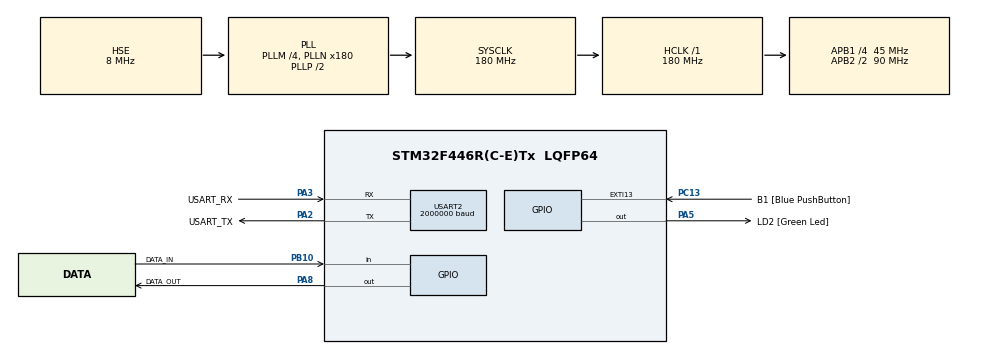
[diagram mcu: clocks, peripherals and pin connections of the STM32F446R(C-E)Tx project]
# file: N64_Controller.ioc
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Mcu.Family=STM32F4
Mcu.Name=STM32F446R(C-E)Tx
Mcu.Package=LQFP64
NVIC.PriorityGroup=NVIC_PRIORITYGROUP_0
NVIC.TIM3_IRQn=true\:0\:0\:false\:false\:true\:true\:true
PA13.GPIO_Label=TMS
PA13.Mode=Serial_Wire
PA13.Signal=SYS_JTMS-SWDIO
PA14.GPIO_Label=TCK
PA14.Mode=Serial_Wire
PA14.Signal=SYS_JTCK-SWCLK
PA2.GPIO_Label=USART_TX
PA2.Mode=Asynchronous
PA2.Signal=USART2_TX
PA3.GPIO_Label=USART_RX
PA3.Mode=Asynchronous
PA3.Signal=USART2_RX
PA5.GPIO_Label=LD2 [Green Led]
PA5.Signal=GPIO_Output
PA8.GPIO_Label=DATA_OUT
PA8.GPIO_Speed=GPIO_SPEED_FREQ_VERY_HIGH
PA8.PinState=GPIO_PIN_SET
PA8.Signal=GPIO_Output
PB10.GPIO_Label=DATA_IN
PB10.GPIO_PuPd=GPIO_PULLUP
PB10.Signal=GPIO_Input
PB3.GPIO_Label=SWO
PB3.Signal=SYS_JTDO-SWO
PB8.Signal=I2C1_SCL
PB9.Signal=I2C1_SDA
PC13.GPIO_Label=B1 [Blue PushButton]
PC13.GPIO_ModeDefaultEXTI=GPIO_MODE_IT_FALLING
PC13.Signal=GPXTI13
PC14-OSC32_IN.Signal=RCC_OSC32_IN
PC15-OSC32_OUT.Signal=RCC_OSC32_OUT
PH0-OSC_IN.Mode=HSE-External-Oscillator
PH0-OSC_IN.Signal=RCC_OSC_IN
PH1-OSC_OUT.Mode=HSE-External-Oscillator
PH1-OSC_OUT.Signal=RCC_OSC_OUT
ProjectManager.HeapSize=0x200
ProjectManager.StackSize=0x400
ProjectManager.TargetToolchain=STM32CubeIDE
RCC.48MHZClocksFreq_Value=84000000
RCC.AHBFreq_Value=180000000
RCC.APB1CLKDivider=RCC_HCLK_DIV4
RCC.APB1Freq_Value=45000000
RCC.APB1TimFreq_Value=90000000
RCC.APB2CLKDivider=RCC_HCLK_DIV2
RCC.APB2Freq_Value=90000000
RCC.APB2TimFreq_Value=180000000
RCC.CortexFreq_Value=180000000
RCC.FLatency-AdvancedSettings=FLASH_LATENCY_5
RCC.HCLKFreq_Value=180000000
RCC.HSE_VALUE=8000000
RCC.HSI_VALUE=16000000
RCC.PLLM=4
RCC.PLLN=180
RCC.PLLSourceVirtual=RCC_PLLSOURCE_HSE
RCC.SYSCLKFreq_VALUE=180000000
RCC.SYSCLKSource=RCC_SYSCLKSOURCE_PLLCLK
RCC.USBFreq_Value=180000000
RCC.VCOOutputFreq_Value=360000000
TIM1.Period=0xffff-1
TIM1.Prescaler=1-1
TIM3.Period=1
TIM3.Prescaler=45000
USART2.BaudRate=2000000
USART2.VirtualMode=VM_ASYNC
VP_TIM1_VS_ClockSourceINT.Mode=Internal
VP_TIM3_VS_ClockSourceINT.Mode=Internal
board=NUCLEO-F446RE

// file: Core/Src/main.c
/* USER CODE BEGIN Header */
/**
  ******************************************************************************
  * @file           : main.c
  * @brief          : Main program body
  ******************************************************************************
  * @attention
  *
  * <h2><center>&copy; Copyright (c) 2020 STMicroelectronics.
  * All rights reserved.</center></h2>
  *
  * This software component is licensed by ST under BSD 3-Clause license,
  * the "License"; You may not use this file except in compliance with the
  * License. You may obtain a copy of the License at:
  *                        opensource.org/licenses/BSD-3-Clause
  *
  ******************************************************************************
  */
/* USER CODE END Header */
#include "main.h"
#include "tim.h"
#include "usart.h"
#include "gpio.h"

/* USER CODE BEGIN Includes */
#include "N64_Controls.h"

/* USER CODE END Includes */

/* USER CODE BEGIN PD */
#define ZERO_VALUE_LOW            7
#define ZERO_VALUE_HIGH           20

#define ONE_VALUE_LOW             1
#define ONE_VALUE_HIGH            5

// The polling signal from the N64 is 7 zeros followed by 2 ones
#define ZERO_POLL_COUNT           7
#define ONE_POLL_COUNT            2

/* USER CODE END PD */

void SystemClock_Config(void);

/* USER CODE BEGIN 0 */

// The state defaults to high
uint8_t current_state = 1;

// Counter for how long the signal has been low
uint8_t low_count = 0;

// Counting how many zeros and ones the N64 has sent
uint8_t zero_count = 0;
uint8_t one_count = 0;

// Timestamp used for counting milliseconds
uint32_t timestamp = 0;

// Union containing struct/array of the N64 controller
N64_controller_u N64_controller;
N64_controller_u N64_controller_zero_status;

/* USER CODE END 0 */

int main(void)
{

  /* MCU Configuration--------------------------------------------------------*/

  /* Reset of all peripherals, Initializes the Flash interface and the Systick. */
  HAL_Init();

  /* Configure the system clock */
  SystemClock_Config();

  /* Initialize all configured peripherals */
  MX_GPIO_Init();
  MX_TIM1_Init();
  MX_TIM3_Init();
  MX_USART2_UART_Init();
  /* USER CODE BEGIN 2 */

  // Enable timer 1 for microsecond delay
  HAL_TIM_Base_Start(&htim1);

  // Enable timer 3 for millisecond counting
  HAL_TIM_Base_Start_IT(&htim3);

  // Initialize controller status
  Update_Controller_Status(&N64_controller, 1, 0, 0, 0, 0, 0, 0, 0, 0, 0, 0, 0, 0, 0, 0, 0);
  /* USER CODE END 2 */

  /* Infinite loop */
  /* USER CODE BEGIN WHILE */
  while (1)
  {
	  // Read state of the data pin
	  current_state = HAL_GPIO_ReadPin(DATA_IN_GPIO_Port, DATA_IN_Pin);

	  if (current_state == 0) {
		  // Count while low
		  while (current_state == 0) {
			  low_count++;
			  current_state = HAL_GPIO_ReadPin(DATA_IN_GPIO_Port, DATA_IN_Pin);
		  }

		  // This value is a "zero" count
		  if (ZERO_VALUE_LOW < low_count && low_count < ZERO_VALUE_HIGH) {
			  zero_count++;
		  }

		  // This value is a "one" count
		  if (ONE_VALUE_LOW < low_count && low_count < ONE_VALUE_HIGH) {
			  one_count++;
		  }

		  // If we collect 7 zeros and 2 ones, polling signal is here
		  if (one_count == ONE_POLL_COUNT) {
			  if (zero_count == ZERO_POLL_COUNT) {
				  // If enough time has passed, respond with controller status
				  if (millisecond_counter - timestamp >= 2000) {
					  // Disable timer 3 global interrupt
					  HAL_TIM_Base_Stop_IT(&htim3);
					  // Respond with controller status here
					   Press_Buttons(&N64_controller);
					  // Start up timer interrupt
					  HAL_TIM_Base_Start_IT(&htim3);
					  timestamp = millisecond_counter;
				  } else { // Just send all zeros as if controller isn't doing anything
					  // Disable timer 3 global interrupt
					  HAL_TIM_Base_Stop_IT(&htim3);
					  // Respond with controller zero status here
					  Press_Buttons(&N64_controller_zero_status);
					  // Start up timer interrupt
					  HAL_TIM_Base_Start_IT(&htim3);
				  }
				  // Reset counts
				  zero_count = 0;
				  one_count = 0;
			  }
		  }

		  // If we don't have 7 zeros but get a one, reset counts
		  if (zero_count < 7) {
			  if (one_count > 0) {
				  zero_count = 0;
				  one_count = 0;
			  }
		  }

		  // If too many zeros come in, reset counts
		  if (zero_count > 7) {
			  zero_count = 0;
			  one_count = 0;
		  }

		  // If too many ones come in, reset counts
		  if (one_count > 2) {
			  zero_count = 0;
			  one_count = 0;
		  }

		  // Reset low counter
		  low_count = 0;
	  }
    /* USER CODE END WHILE */

  }
}

void SystemClock_Config(void)
{
  RCC_OscInitTypeDef RCC_OscInitStruct = {0};
  RCC_ClkInitTypeDef RCC_ClkInitStruct = {0};

  /** Configure the main internal regulator output voltage
  */
  __HAL_RCC_PWR_CLK_ENABLE();
  __HAL_PWR_VOLTAGESCALING_CONFIG(PWR_REGULATOR_VOLTAGE_SCALE1);
  /** Initializes the RCC Oscillators according to the specified parameters
  * in the RCC_OscInitTypeDef structure.
  */
  RCC_OscInitStruct.OscillatorType = RCC_OSCILLATORTYPE_HSE;
  RCC_OscInitStruct.HSEState = RCC_HSE_ON;
  RCC_OscInitStruct.PLL.PLLState = RCC_PLL_ON;
  RCC_OscInitStruct.PLL.PLLSource = RCC_PLLSOURCE_HSE;
  RCC_OscInitStruct.PLL.PLLM = 4;
  RCC_OscInitStruct.PLL.PLLN = 180;
  RCC_OscInitStruct.PLL.PLLP = RCC_PLLP_DIV2;
  RCC_OscInitStruct.PLL.PLLQ = 2;
  RCC_OscInitStruct.PLL.PLLR = 2;
  if (HAL_RCC_OscConfig(&RCC_OscInitStruct) != HAL_OK)
  {
    Error_Handler();
  }
  /** Activate the Over-Drive mode
  */
  if (HAL_PWREx_EnableOverDrive() != HAL_OK)
  {
    Error_Handler();
  }
  /** Initializes the CPU, AHB and APB buses clocks
  */
  RCC_ClkInitStruct.ClockType = RCC_CLOCKTYPE_HCLK|RCC_CLOCKTYPE_SYSCLK
                              |RCC_CLOCKTYPE_PCLK1|RCC_CLOCKTYPE_PCLK2;
  RCC_ClkInitStruct.SYSCLKSource = RCC_SYSCLKSOURCE_PLLCLK;
  RCC_ClkInitStruct.AHBCLKDivider = RCC_SYSCLK_DIV1;
  RCC_ClkInitStruct.APB1CLKDivider = RCC_HCLK_DIV4;
  RCC_ClkInitStruct.APB2CLKDivider = RCC_HCLK_DIV2;

  if (HAL_RCC_ClockConfig(&RCC_ClkInitStruct, FLASH_LATENCY_5) != HAL_OK)
  {
    Error_Handler();
  }
}

void Error_Handler(void)
{
}

/************************ (C) COPYRIGHT STMicroelectronics *****END OF FILE****/
